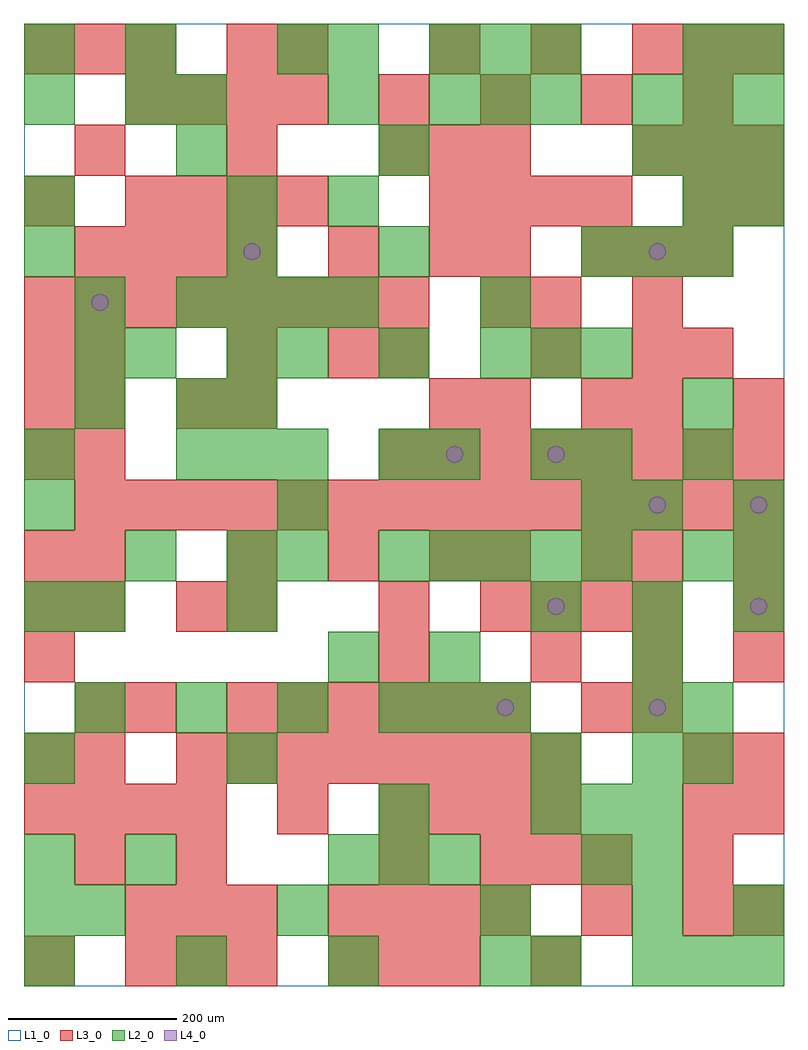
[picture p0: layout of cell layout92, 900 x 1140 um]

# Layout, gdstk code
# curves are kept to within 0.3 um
import gdstk
lib = gdstk.Library(unit=1e-6, precision=1e-09)
def R(c, l, rs):  # rectangles x0, y0, x1, y1
    for r in rs: c.add(gdstk.rectangle(r[:2], r[2:], *l))
def A(c, l, x, y, w, h, nx, ny, dx, dy):  # array of equal rectangles
    R(c, l, [(x+i*dx, y+j*dy, x+i*dx+w, y+j*dy+h) for i in range(nx) for j in range(ny)])
def P(c, l, *ps):  # polygons
    for p in ps: c.add(gdstk.Polygon(p, *l))
L1_0 = (1, 0)
L2_0 = (2, 0)
L3_0 = (3, 0)
L4_0 = (4, 0)

layout92 = lib.new_cell('layout92')
R(layout92, L1_0, [(0,0,900,1140)])
A(layout92, L2_0, 0, 0, 60, 60, 4, 1, 180, 0)
A(layout92, L2_0, 720, 0, 60, 60, 3, 2, 60, 960)
A(layout92, L2_0, 60, 60, 60, 60, 3, 1, 240, 0)
A(layout92, L2_0, 360, 120, 60, 60, 3, 1, 60, 0)
A(layout92, L2_0, 600, 180, 60, 60, 3, 1, 60, 0)
A(layout92, L2_0, 720, 240, 60, 60, 1, 3, 0, 60)
A(layout92, L2_0, 60, 300, 60, 60, 4, 1, 120, 0)
A(layout92, L2_0, 600, 420, 60, 60, 3, 1, 120, 0)
A(layout92, L2_0, 420, 480, 60, 60, 5, 1, 60, 0)
A(layout92, L2_0, 180, 600, 60, 60, 3, 1, 60, 0)
A(layout92, L2_0, 60, 660, 60, 60, 1, 3, 0, 60)
A(layout92, L2_0, 300, 720, 60, 60, 3, 1, 120, 0)
A(layout92, L2_0, 180, 780, 60, 60, 4, 1, 60, 0)
A(layout92, L2_0, 660, 840, 60, 60, 3, 1, 60, 0)
A(layout92, L2_0, 480, 1020, 60, 60, 3, 2, 60, 60)
A(layout92, L2_0, 720, 1020, 60, 60, 3, 1, 60, 0)
R(layout92, L2_0, [(600,0,660,60), (0,60,60,120), (720,60,780,120), (840,60,900,120), (0,120,60,180), (120,120,180,180), (660,120,720,180), (720,120,780,180), (420,180,480,240), (0,240,60,300), (240,240,300,300), (600,240,660,300), (780,240,840,300), (480,300,540,360), (540,300,600,360), (780,300,840,360), (360,360,420,420), (480,360,540,420), (0,420,60,480), (60,420,120,480), (240,420,300,480), (120,480,180,540), (240,480,300,540), (300,480,360,540), (780,480,840,540), (840,480,900,540), (0,540,60,600), (300,540,360,600), (660,540,720,600), (720,540,780,600), (840,540,900,600), (0,600,60,660), (420,600,480,660), (480,600,540,660), (600,600,660,660), (660,600,720,660), (780,600,840,660), (180,660,240,720), (240,660,300,720), (780,660,840,720), (120,720,180,780), (240,720,300,780), (600,720,660,780), (660,720,720,780), (540,780,600,840), (0,840,60,900), (240,840,300,900), (420,840,480,900), (0,900,60,960), (240,900,300,960), (360,900,420,960), (780,900,840,960), (840,900,900,960), (180,960,240,1020), (420,960,480,1020), (0,1020,60,1080), (120,1020,180,1080), (180,1020,240,1080), (360,1020,420,1080), (0,1080,60,1140), (120,1080,180,1140), (300,1080,360,1140), (360,1080,420,1140), (780,1080,840,1140), (840,1080,900,1140)])
A(layout92, L3_0, 120, 0, 60, 60, 3, 2, 60, 60)
A(layout92, L3_0, 360, 0, 60, 60, 3, 1, 60, 0)
A(layout92, L3_0, 360, 60, 60, 60, 4, 1, 60, 0)
A(layout92, L3_0, 780, 60, 60, 60, 1, 4, 0, 60)
A(layout92, L3_0, 540, 120, 60, 60, 3, 1, 60, 0)
A(layout92, L3_0, 0, 180, 60, 60, 4, 1, 60, 0)
A(layout92, L3_0, 420, 180, 60, 60, 4, 1, 60, 0)
A(layout92, L3_0, 180, 240, 60, 60, 8, 1, 60, 0)
A(layout92, L3_0, 240, 300, 60, 60, 6, 1, 60, 0)
A(layout92, L3_0, 660, 300, 60, 60, 1, 3, 0, 180)
A(layout92, L3_0, 720, 300, 60, 60, 1, 3, 0, 180)
A(layout92, L3_0, 0, 360, 60, 60, 1, 3, 0, 60)
A(layout92, L3_0, 600, 360, 60, 60, 3, 1, 120, 0)
A(layout92, L3_0, 540, 420, 60, 60, 4, 1, 60, 0)
A(layout92, L3_0, 240, 480, 60, 60, 3, 1, 120, 0)
A(layout92, L3_0, 60, 540, 60, 60, 14, 1, 60, 0)
A(layout92, L3_0, 0, 600, 60, 60, 1, 3, 0, 60)
A(layout92, L3_0, 60, 600, 60, 60, 1, 3, 0, 60)
A(layout92, L3_0, 420, 600, 60, 60, 8, 1, 60, 0)
A(layout92, L3_0, 780, 720, 60, 60, 1, 3, 0, 180)
A(layout92, L3_0, 0, 780, 60, 60, 8, 1, 60, 0)
A(layout92, L3_0, 60, 840, 60, 60, 4, 1, 60, 0)
A(layout92, L3_0, 660, 840, 60, 60, 3, 1, 60, 0)
A(layout92, L3_0, 120, 900, 60, 60, 4, 2, 60, 120)
A(layout92, L3_0, 480, 900, 60, 60, 4, 1, 60, 0)
A(layout92, L3_0, 60, 960, 60, 60, 3, 1, 180, 0)
A(layout92, L3_0, 720, 960, 60, 60, 3, 1, 60, 0)
A(layout92, L3_0, 420, 1020, 60, 60, 4, 1, 120, 0)
A(layout92, L3_0, 0, 1080, 60, 60, 3, 1, 60, 0)
A(layout92, L3_0, 480, 1080, 60, 60, 3, 1, 120, 0)
R(layout92, L3_0, [(0,0,60,60), (600,0,660,60), (660,60,720,120), (840,60,900,120), (60,120,120,180), (180,120,240,180), (420,120,480,180), (300,180,360,240), (840,180,900,240), (0,240,60,300), (60,240,120,300), (840,240,900,300), (60,300,120,360), (120,300,180,360), (420,360,480,420), (60,420,120,480), (180,420,240,480), (240,420,300,480), (420,420,480,480), (840,420,900,480), (60,480,120,540), (540,480,600,540), (840,480,900,540), (180,660,240,720), (240,660,300,720), (480,660,540,720), (540,660,600,720), (840,660,900,720), (240,720,300,780), (360,720,420,780), (420,720,480,780), (600,720,660,780), (720,720,780,780), (540,780,600,840), (600,780,660,840), (720,780,780,840), (360,840,420,900), (480,840,540,900), (540,840,600,900), (0,900,60,960), (840,900,900,960), (480,960,540,1020), (540,960,600,1020), (240,1080,300,1140), (300,1080,360,1140), (840,1080,900,1140)])
P(layout92, L4_0, [(100,810),(99.239,813.827),(97.071,817.071),(93.827,819.239),(90,820),(86.173,819.239),(82.929,817.071),(80.761,813.827),(80,810),(80.761,806.173),(82.929,802.929),(86.173,800.761),(90,800),(93.827,800.761),(97.071,802.929),(99.239,806.173)],
  [(280,870),(279.239,873.827),(277.071,877.071),(273.827,879.239),(270,880),(266.173,879.239),(262.929,877.071),(260.761,873.827),(260,870),(260.761,866.173),(262.929,862.929),(266.173,860.761),(270,860),(273.827,860.761),(277.071,862.929),(279.239,866.173)],
  [(520,630),(519.239,633.827),(517.071,637.071),(513.827,639.239),(510,640),(506.173,639.239),(502.929,637.071),(500.761,633.827),(500,630),(500.761,626.173),(502.929,622.929),(506.173,620.761),(510,620),(513.827,620.761),(517.071,622.929),(519.239,626.173)],
  [(580,330),(579.239,333.827),(577.071,337.071),(573.827,339.239),(570,340),(566.173,339.239),(562.929,337.071),(560.761,333.827),(560,330),(560.761,326.173),(562.929,322.929),(566.173,320.761),(570,320),(573.827,320.761),(577.071,322.929),(579.239,326.173)],
  [(640,450),(639.239,453.827),(637.071,457.071),(633.827,459.239),(630,460),(626.173,459.239),(622.929,457.071),(620.761,453.827),(620,450),(620.761,446.173),(622.929,442.929),(626.173,440.761),(630,440),(633.827,440.761),(637.071,442.929),(639.239,446.173)],
  [(640,630),(639.239,633.827),(637.071,637.071),(633.827,639.239),(630,640),(626.173,639.239),(622.929,637.071),(620.761,633.827),(620,630),(620.761,626.173),(622.929,622.929),(626.173,620.761),(630,620),(633.827,620.761),(637.071,622.929),(639.239,626.173)],
  [(760,330),(759.239,333.827),(757.071,337.071),(753.827,339.239),(750,340),(746.173,339.239),(742.929,337.071),(740.761,333.827),(740,330),(740.761,326.173),(742.929,322.929),(746.173,320.761),(750,320),(753.827,320.761),(757.071,322.929),(759.239,326.173)],
  [(760,570),(759.239,573.827),(757.071,577.071),(753.827,579.239),(750,580),(746.173,579.239),(742.929,577.071),(740.761,573.827),(740,570),(740.761,566.173),(742.929,562.929),(746.173,560.761),(750,560),(753.827,560.761),(757.071,562.929),(759.239,566.173)],
  [(760,870),(759.239,873.827),(757.071,877.071),(753.827,879.239),(750,880),(746.173,879.239),(742.929,877.071),(740.761,873.827),(740,870),(740.761,866.173),(742.929,862.929),(746.173,860.761),(750,860),(753.827,860.761),(757.071,862.929),(759.239,866.173)],
  [(880,450),(879.239,453.827),(877.071,457.071),(873.827,459.239),(870,460),(866.173,459.239),(862.929,457.071),(860.761,453.827),(860,450),(860.761,446.173),(862.929,442.929),(866.173,440.761),(870,440),(873.827,440.761),(877.071,442.929),(879.239,446.173)],
  [(880,570),(879.239,573.827),(877.071,577.071),(873.827,579.239),(870,580),(866.173,579.239),(862.929,577.071),(860.761,573.827),(860,570),(860.761,566.173),(862.929,562.929),(866.173,560.761),(870,560),(873.827,560.761),(877.071,562.929),(879.239,566.173)])

lib.write_gds('layout92.gds')
